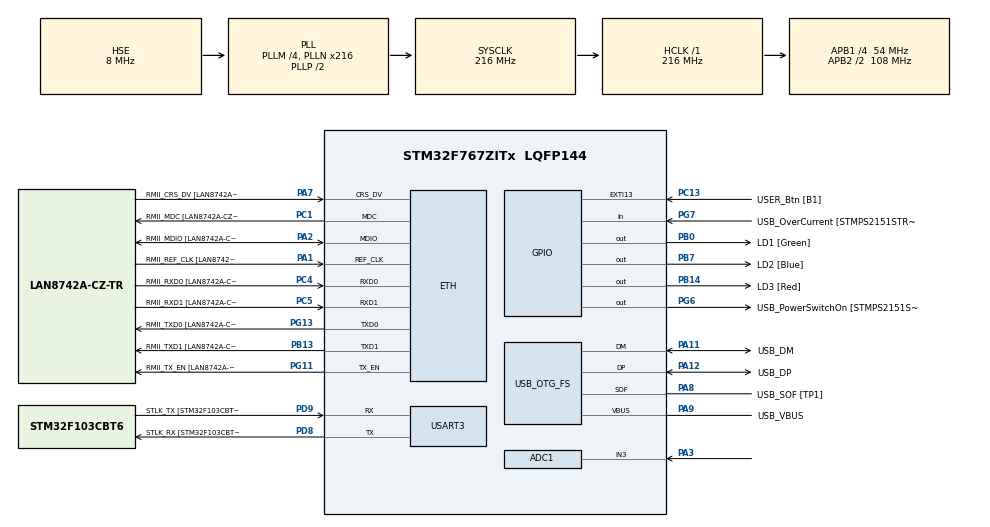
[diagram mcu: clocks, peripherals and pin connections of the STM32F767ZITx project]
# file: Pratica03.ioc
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ADC1.Channel-0\#ChannelRegularConversion=ADC_CHANNEL_3
ADC1.NbrOfConversionFlag=1
ADC1.Rank-0\#ChannelRegularConversion=1
ADC1.SamplingTime-0\#ChannelRegularConversion=ADC_SAMPLETIME_3CYCLES
ADC1.master=1
CORTEX_M7.default_mode_Activation=1
ETH.MediaInterface=HAL_ETH_RMII_MODE
ETH.PHY_Name=LAN8742A_PHY_ADDRESS
ETH.PHY_Value=0
ETH.PhyAddress=0
Mcu.Family=STM32F7
Mcu.Name=STM32F767ZITx
Mcu.Package=LQFP144
NVIC.PriorityGroup=NVIC_PRIORITYGROUP_4
NVIC.TIM6_DAC_IRQn=true\:0\:0\:false\:false\:true\:true\:true\:true
PA1.GPIO_Label=RMII_REF_CLK [LAN8742A-CZ-TR_REFCLK0]
PA1.Mode=RMII
PA1.Signal=ETH_REF_CLK
PA10.GPIO_Label=USB_ID
PA10.Signal=USB_OTG_FS_ID
PA11.GPIO_Label=USB_DM
PA11.Mode=Device_Only
PA11.Signal=USB_OTG_FS_DM
PA12.GPIO_Label=USB_DP
PA12.Mode=Device_Only
PA12.Signal=USB_OTG_FS_DP
PA13.GPIO_Label=TMS
PA13.Mode=Serial_Wire
PA13.Signal=SYS_JTMS-SWDIO
PA14.GPIO_Label=TCK
PA14.Mode=Serial_Wire
PA14.Signal=SYS_JTCK-SWCLK
PA2.GPIO_Label=RMII_MDIO [LAN8742A-CZ-TR_MDIO]
PA2.Mode=RMII
PA2.Signal=ETH_MDIO
PA3.Signal=ADCx_IN3
PA7.GPIO_Label=RMII_CRS_DV [LAN8742A-CZ-TR_CRS_DV]
PA7.Mode=RMII
PA7.Signal=ETH_CRS_DV
PA8.GPIO_Label=USB_SOF [TP1]
PA8.Mode=Activate_SOF_FS
PA8.Signal=USB_OTG_FS_SOF
PA9.GPIO_Label=USB_VBUS
PA9.Mode=Activate_VBUS
PA9.Signal=USB_OTG_FS_VBUS
PB0.GPIO_Label=LD1 [Green]
PB0.Signal=GPIO_Output
PB13.GPIO_Label=RMII_TXD1 [LAN8742A-CZ-TR_TXD1]
PB13.Mode=RMII
PB13.Signal=ETH_TXD1
PB14.GPIO_Label=LD3 [Red]
PB14.Signal=GPIO_Output
PB3.GPIO_Label=SWO
PB3.Signal=SYS_JTDO-SWO
PB7.GPIO_Label=LD2 [Blue]
PB7.Signal=GPIO_Output
PC1.GPIO_Label=RMII_MDC [LAN8742A-CZ-TR_MDC]
PC1.Mode=RMII
PC1.Signal=ETH_MDC
PC13.GPIO_Label=USER_Btn [B1]
PC13.Signal=GPXTI13
PC14/OSC32_IN.Mode=LSE-External-Oscillator
PC14/OSC32_IN.Signal=RCC_OSC32_IN
PC15/OSC32_OUT.Mode=LSE-External-Oscillator
PC15/OSC32_OUT.Signal=RCC_OSC32_OUT
PC4.GPIO_Label=RMII_RXD0 [LAN8742A-CZ-TR_RXD0]
PC4.Mode=RMII
PC4.Signal=ETH_RXD0
PC5.GPIO_Label=RMII_RXD1 [LAN8742A-CZ-TR_RXD1]
PC5.Mode=RMII
PC5.Signal=ETH_RXD1
PD8.GPIO_Label=STLK_RX [STM32F103CBT6_PA3]
PD8.Mode=Asynchronous
PD8.Signal=USART3_TX
PD9.GPIO_Label=STLK_TX [STM32F103CBT6_PA2]
PD9.Mode=Asynchronous
PD9.Signal=USART3_RX
PG11.GPIO_Label=RMII_TX_EN [LAN8742A-CZ-TR_TXEN]
PG11.Mode=RMII
PG11.Signal=ETH_TX_EN
PG13.GPIO_Label=RMII_TXD0 [LAN8742A-CZ-TR_TXD0]
PG13.Mode=RMII
PG13.Signal=ETH_TXD0
PG6.GPIO_Label=USB_PowerSwitchOn [STMPS2151STR_EN]
PG6.Signal=GPIO_Output
PG7.GPIO_Label=USB_OverCurrent [STMPS2151STR_FAULT]
PG7.Signal=GPIO_Input
PH0/OSC_IN.GPIO_Label=MCO [STM32F103CBT6_PA8]
PH0/OSC_IN.Mode=HSE-External-Clock-Source
PH0/OSC_IN.Signal=RCC_OSC_IN
PH1/OSC_OUT.Mode=HSE-External-Clock-Source
PH1/OSC_OUT.Signal=RCC_OSC_OUT
ProjectManager.HeapSize=0x200
ProjectManager.StackSize=0x400
ProjectManager.TargetToolchain=STM32CubeIDE
RCC.48MHZClocksFreq_Value=24000000
RCC.AHBFreq_Value=216000000
RCC.APB1CLKDivider=RCC_HCLK_DIV4
RCC.APB1Freq_Value=54000000
RCC.APB1TimFreq_Value=108000000
RCC.APB2CLKDivider=RCC_HCLK_DIV2
RCC.APB2Freq_Value=108000000
RCC.APB2TimFreq_Value=216000000
RCC.CortexFreq_Value=216000000
RCC.HCLKFreq_Value=216000000
RCC.HSE_VALUE=8000000
RCC.HSI_VALUE=16000000
RCC.PLLM=4
RCC.PLLMUL=RCC_PLL_MUL9
RCC.PLLN=216
RCC.PLLQ=9
RCC.PRESCALERUSB=RCC_USBCLKSOURCE_PLL_DIV1_5
RCC.SYSCLKFreq_VALUE=216000000
RCC.SYSCLKSource=RCC_SYSCLKSOURCE_PLLCLK
RCC.SYSCLKSourceVirtual=RCC_SYSCLKSOURCE_PLLCLK
RCC.USBFreq_Value=48000000
RCC.VCOOutputFreq_Value=432000000
SH.ADCx_IN3.0=ADC1_IN3,IN3
TIM6.Period=499
TIM6.Prescaler=10799
USART3.VirtualMode-Asynchronous=VM_ASYNC
USB_OTG_FS.VirtualMode=Device_Only
VP_TIM6_VS_ClockSourceINT.Mode=Enable_Timer
board=NUCLEO-F767ZI

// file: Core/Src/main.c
/* USER CODE BEGIN Header */
/**
  ******************************************************************************
  * @file           : main.c
  * @brief          : Main program body
  ******************************************************************************
  * @attention
  *
  * Copyright (c) 2026 STMicroelectronics.
  * All rights reserved.
  *
  * This software is licensed under terms that can be found in the LICENSE file
  * in the root directory of this software component.
  * If no LICENSE file comes with this software, it is provided AS-IS.
  *
  ******************************************************************************
  */
/* USER CODE END Header */
#include "main.h"
#include "adc.h"
#include "eth.h"
#include "tim.h"
#include "usart.h"
#include "usb_otg.h"
#include "gpio.h"
#include "Bsp.h"
#include "LevelSensor.h"
#include "usart.h"
#include <stdio.h>

void SystemClock_Config(void);
static void MPU_Config(void);

/* USER CODE BEGIN 0 */
/* USER CODE BEGIN 0 */
int __io_putchar(int ch)
{
    HAL_UART_Transmit(&huart3,(uint8_t *)&ch,1,HAL_MAX_DELAY);

    return ch;
}
/* USER CODE END 0 */

/* USER CODE END 0 */

int main(void)
{

  /* MPU Configuration--------------------------------------------------------*/
  MPU_Config();

  /* MCU Configuration--------------------------------------------------------*/

  /* Reset of all peripherals, Initializes the Flash interface and the Systick. */
  HAL_Init();

  /* Configure the system clock */
  SystemClock_Config();

  /* Initialize all configured peripherals */
  MX_GPIO_Init();
  MX_ADC1_Init();
  MX_ETH_Init();
  MX_TIM6_Init();
  MX_USART3_UART_Init();
  MX_USB_OTG_FS_PCD_Init();
  /* USER CODE BEGIN 2 */
  Bsp_Init();
  LevelSensor_Init();
  Bsp_StartTimerInterrupt();
  /* USER CODE END 2 */
  /* Infinite loop */
  /* USER CODE BEGIN WHILE */
  while (1){
	  if(Bsp_IsTimerFlagSet()) {
	          Bsp_ClearTimerFlag();
	          LevelSensor_Task();
	          if(LevelSensor_HasNewResult()){
	              Bsp_PrintLevel(LevelSensor_GetVoltage(),LevelSensor_GetPercentage());
	          }
	      }
	    /* USER CODE END WHILE */

  }
}

void SystemClock_Config(void)
{
  RCC_OscInitTypeDef RCC_OscInitStruct = {0};
  RCC_ClkInitTypeDef RCC_ClkInitStruct = {0};

  /** Configure LSE Drive Capability
  */
  HAL_PWR_EnableBkUpAccess();

  /** Configure the main internal regulator output voltage
  */
  __HAL_RCC_PWR_CLK_ENABLE();
  __HAL_PWR_VOLTAGESCALING_CONFIG(PWR_REGULATOR_VOLTAGE_SCALE1);

  /** Initializes the RCC Oscillators according to the specified parameters
  * in the RCC_OscInitTypeDef structure.
  */
  RCC_OscInitStruct.OscillatorType = RCC_OSCILLATORTYPE_HSE;
  RCC_OscInitStruct.HSEState = RCC_HSE_BYPASS;
  RCC_OscInitStruct.PLL.PLLState = RCC_PLL_ON;
  RCC_OscInitStruct.PLL.PLLSource = RCC_PLLSOURCE_HSE;
  RCC_OscInitStruct.PLL.PLLM = 4;
  RCC_OscInitStruct.PLL.PLLN = 216;
  RCC_OscInitStruct.PLL.PLLP = RCC_PLLP_DIV2;
  RCC_OscInitStruct.PLL.PLLQ = 9;
  RCC_OscInitStruct.PLL.PLLR = 2;
  if (HAL_RCC_OscConfig(&RCC_OscInitStruct) != HAL_OK)
  {
    Error_Handler();
  }

  /** Activate the Over-Drive mode
  */
  if (HAL_PWREx_EnableOverDrive() != HAL_OK)
  {
    Error_Handler();
  }

  /** Initializes the CPU, AHB and APB buses clocks
  */
  RCC_ClkInitStruct.ClockType = RCC_CLOCKTYPE_HCLK|RCC_CLOCKTYPE_SYSCLK
                              |RCC_CLOCKTYPE_PCLK1|RCC_CLOCKTYPE_PCLK2;
  RCC_ClkInitStruct.SYSCLKSource = RCC_SYSCLKSOURCE_PLLCLK;
  RCC_ClkInitStruct.AHBCLKDivider = RCC_SYSCLK_DIV1;
  RCC_ClkInitStruct.APB1CLKDivider = RCC_HCLK_DIV4;
  RCC_ClkInitStruct.APB2CLKDivider = RCC_HCLK_DIV2;

  if (HAL_RCC_ClockConfig(&RCC_ClkInitStruct, FLASH_LATENCY_7) != HAL_OK)
  {
    Error_Handler();
  }
}

/* USER CODE BEGIN 4 */
void HAL_TIM_PeriodElapsedCallback(TIM_HandleTypeDef *htim){
    if(htim->Instance == TIM6){
        Bsp_SetTimerFlag();
    }
}

/* USER CODE END 4 */

 /* MPU Configuration */

void MPU_Config(void)
{
  MPU_Region_InitTypeDef MPU_InitStruct = {0};

  /* Disables the MPU */
  HAL_MPU_Disable();

  /** Initializes and configures the Region and the memory to be protected
  */
  MPU_InitStruct.Enable = MPU_REGION_ENABLE;
  MPU_InitStruct.Number = MPU_REGION_NUMBER0;
  MPU_InitStruct.BaseAddress = 0x0;
  MPU_InitStruct.Size = MPU_REGION_SIZE_4GB;
  MPU_InitStruct.SubRegionDisable = 0x87;
  MPU_InitStruct.TypeExtField = MPU_TEX_LEVEL0;
  MPU_InitStruct.AccessPermission = MPU_REGION_NO_ACCESS;
  MPU_InitStruct.DisableExec = MPU_INSTRUCTION_ACCESS_DISABLE;
  MPU_InitStruct.IsShareable = MPU_ACCESS_SHAREABLE;
  MPU_InitStruct.IsCacheable = MPU_ACCESS_NOT_CACHEABLE;
  MPU_InitStruct.IsBufferable = MPU_ACCESS_NOT_BUFFERABLE;

  HAL_MPU_ConfigRegion(&MPU_InitStruct);
  /* Enables the MPU */
  HAL_MPU_Enable(MPU_PRIVILEGED_DEFAULT);

}

void Error_Handler(void)
{
  __disable_irq();
  while (1)
  {
  }
}
#ifdef USE_FULL_ASSERT
/**
  * @brief  Reports the name of the source file and the source line number
  *         where the assert_param error has occurred.
  * @param  file: pointer to the source file name
  * @param  line: assert_param error line source number
  * @retval None
  */
void assert_failed(uint8_t *file, uint32_t line)
{
  /* USER CODE BEGIN 6 */
  /* User can add his own implementation to report the file name and line number,
     ex: prints("Wrong parameters value: file %s on line %d\r\n", file, line) */
  /* USER CODE END 6 */
}
#endif /* USE_FULL_ASSERT */
